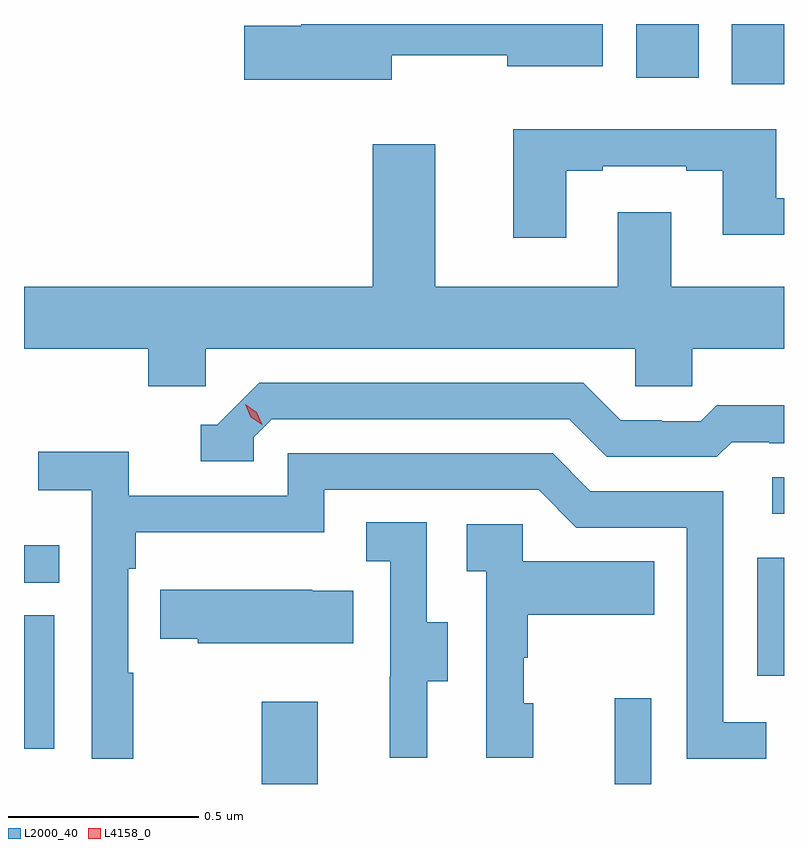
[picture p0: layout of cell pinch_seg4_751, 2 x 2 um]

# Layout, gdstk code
import gdstk
lib = gdstk.Library(unit=1e-6, precision=1e-09)
def R(c, l, rs):  # rectangles x0, y0, x1, y1
    for r in rs: c.add(gdstk.rectangle(r[:2], r[2:], *l))
def P(c, l, *ps):  # polygons
    for p in ps: c.add(gdstk.Polygon(p, *l))
L2000_40 = (2000, 40)
L4158_0 = (4158, 0)

pinch_seg4_751 = lib.new_cell('pinch_seg4_751')
R(pinch_seg4_751, L2000_40, [(860.02,830.307,860.167,830.524), (860.948,830.307,861.045,830.533), (859.394,830.4,859.474,830.751), (861.324,830.592,861.394,830.902), (859.394,830.836,859.487,830.935), (861.363,831.018,861.394,831.114), (861.257,832.148,861.394,832.307), (861.005,832.166,861.169,832.307)])
P(pinch_seg4_751, L2000_40, [(860.362,832.225),(860.666,832.225),(860.666,832.196),(860.917,832.196),(860.917,832.307),(860.123,832.307),(860.123,832.302),(859.974,832.302),(859.974,832.16),(860.362,832.16)],
  [(860.821,831.921),(860.917,831.921),(860.917,831.933),(861.137,831.933),(861.137,831.921),(861.233,831.921),(861.233,831.752),(861.394,831.752),(861.394,831.849),(861.373,831.849),(861.373,832.03),(860.681,832.03),(860.681,831.744),(860.821,831.744)],
  [(859.872,831.452),(861.003,831.452),(861.003,831.354),(861.153,831.354),(861.153,831.452),(861.394,831.452),(861.394,831.616),(861.097,831.616),(861.097,831.811),(860.957,831.811),(860.957,831.616),(860.476,831.616),(860.476,831.991),(860.312,831.991),(860.312,831.616),(859.394,831.616),(859.394,831.452),(859.721,831.452),(859.721,831.354),(859.872,831.354)],
  [(859.998,831.219),(860.046,831.267),(860.829,831.267),(860.928,831.168),(861.217,831.168),(861.256,831.207),(861.355,831.207),(861.355,831.204),(861.394,831.204),(861.394,831.304),(861.217,831.304),(861.175,831.261),(861.072,831.261),(861.072,831.264),(860.965,831.264),(860.866,831.363),(860.013,831.363),(859.902,831.252),(859.859,831.252),(859.859,831.156),(859.998,831.156)],
  [(859.681,830.6),(859.668,830.6),(859.668,830.873),(859.688,830.873),(859.688,830.969),(860.184,830.969),(860.184,831.081),(860.748,831.081),(860.847,830.982),(861.138,830.982),(861.138,830.373),(861.347,830.373),(861.347,830.469),(861.234,830.469),(861.234,831.078),(860.884,831.078),(860.785,831.177),(860.088,831.177),(860.088,831.066),(859.67,831.066),(859.67,831.182),(859.431,831.182),(859.431,831.08),(859.572,831.08),(859.572,830.373),(859.681,830.373)],
  [(860.455,830.578),(860.509,830.578),(860.509,830.733),(860.454,830.733),(860.454,830.996),(860.295,830.996),(860.295,830.893),(860.358,830.893),(860.358,830.589),(860.357,830.589),(860.357,830.376),(860.455,830.376)],
  [(860.734,830.52),(860.709,830.52),(860.709,830.639),(860.719,830.639),(860.719,830.753),(861.053,830.753),(861.053,830.893),(860.706,830.893),(860.706,830.991),(860.559,830.991),(860.559,830.867),(860.61,830.867),(860.61,830.376),(860.734,830.376)],
  [(860.261,830.815),(860.153,830.815),(860.153,830.818),(859.753,830.818),(859.753,830.689),(859.851,830.689),(859.851,830.678),(860.261,830.678)])
P(pinch_seg4_751, L4158_0, [(860.021,831.252),(859.991,831.272),(859.976,831.306),(859.976,831.306),(859.976,831.306),(860.006,831.285),(860.021,831.252),(860.021,831.252)])

lib.write_gds('pinch_seg4_751.gds')
